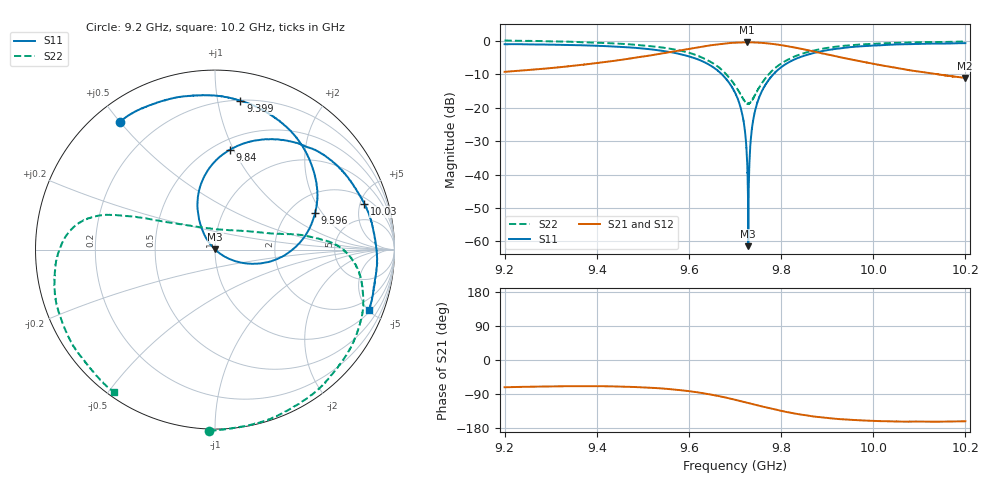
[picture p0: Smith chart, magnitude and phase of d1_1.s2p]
!Agilent Technologies,N5242A,MY51221714,A.09.90.19
!Agilent N5242A: A.09.90.19
!Date: Friday, February 02, 2024 13:06:58
!Correction: S11(Full 2 Port(1,2))
!S21(Full 2 Port(1,2))
!S12(Full 2 Port(1,2))
!S22(Full 2 Port(1,2))
!S2P File: Measurements: S11, S21, S12, S22:
# Hz S  dB  R 50
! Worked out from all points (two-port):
!   16001 points, 9.2 GHz to 10.2 GHz, reference 50 ohm
!   highest |S21| = -0.46 dB at 9.726 GHz (marker M1); lowest = -11.1 dB at 10.2 GHz (marker M2)
!   |S21| within 3 dB of the highest: 9.555218 GHz to 9.555405 GHz (187.2 kHz wide, 0.00196 % of centre); 9.556 GHz to 9.879 GHz (323 MHz wide, 3.32 % of centre)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
!   lowest |S11| = -61.4 dB at 9.729 GHz (marker M3), VSWR 1.00, Z = 50 + j0.0798 ohm
!   |S11| at or under -10 dB: 9.671 GHz to 9.784 GHz (112.3 MHz wide, 1.15 % of centre)
!   |S22| runs from -18.9 to 0.1 dB; largest |S21 - S12| = 0.02
!   S11 on the Smith chart (normalised r, x): 9.2 GHz: 0.07, +0.50; 9.399 GHz: 0.21, +1.16; 9.596 GHz: 2.74, +1.72; 9.84 GHz: 0.59, +0.97; 10.03 GHz: 2.63, +5.47; 10.2 GHz: 1.14, -5.07
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9.2e9  -1.03 126.7  -9.28 -71.9  -9.25 -73.0  0.08 -91.8
9.366688e9  -1.35 88.4  -7.21 -69.0  -7.20 -69.9  -0.43 -46.4
9.398812e9  -1.51 80.3  -6.69 -69.1  -6.67 -70.1  -0.57 -38.1
9.533375e9  -2.85 42.3  -3.99 -74.4  -3.98 -75.3  -1.89 -8.1
9.596125e9  -4.52 20.0  -2.51 -81.6  -2.49 -82.6  -3.45 2.5
9.65925e9  -8.56 -6.3  -1.14 -93.9  -1.12 -94.9  -7.33 11.6
9.7e9  -15.50 -25.8  -0.58 -104.9  -0.56 -105.9  -13.32 28.0
9.71775e9  -23.35 -35.6  -0.49 -110.1  -0.46 -111.2  -17.40 53.2
9.721938e9  -27.28 -37.9  -0.46 -111.4  -0.45 -112.5  -18.24 64.2
9.726188e9  -35.58 -38.4  -0.46 -112.6  -0.44 -113.8  -18.76 77.5
9.728812e9  -61.40 69.4  -0.47 -113.4  -0.44 -114.6  -18.93 86.5
9.732125e9  -33.71 131.1  -0.48 -114.5  -0.44 -115.6  -18.64 97.2
9.73575e9  -27.42 132.0  -0.49 -115.6  -0.45 -116.7  -18.03 107.7
9.740188e9  -23.10 128.5  -0.50 -117.0  -0.47 -118.1  -17.04 119.0
9.75675e9  -15.55 119.6  -0.63 -122.0  -0.60 -123.1  -13.03 141.6
9.790438e9  -9.05 103.9  -1.12 -131.7  -1.11 -132.8  -7.78 155.2
9.83975e9  -4.99 81.4  -2.30 -143.3  -2.30 -144.3  -4.15 161.8
9.866688e9  -3.81 70.2  -3.09 -148.3  -3.07 -149.4  -3.07 165.0
1.003338e10  -1.20 17.3  -7.70 -161.8  -7.69 -162.8  -0.68 -165.0
1.003475e10  -1.22 17.0  -7.75 -161.8  -7.74 -162.9  -0.68 -164.8
1.01995e10  -0.73 -21.1  -11.11 -161.6  -11.09 -162.9  -0.24 -125.5
1.02e10  -0.71 -21.3  -11.10 -161.7  -11.09 -162.8  -0.24 -125.3
